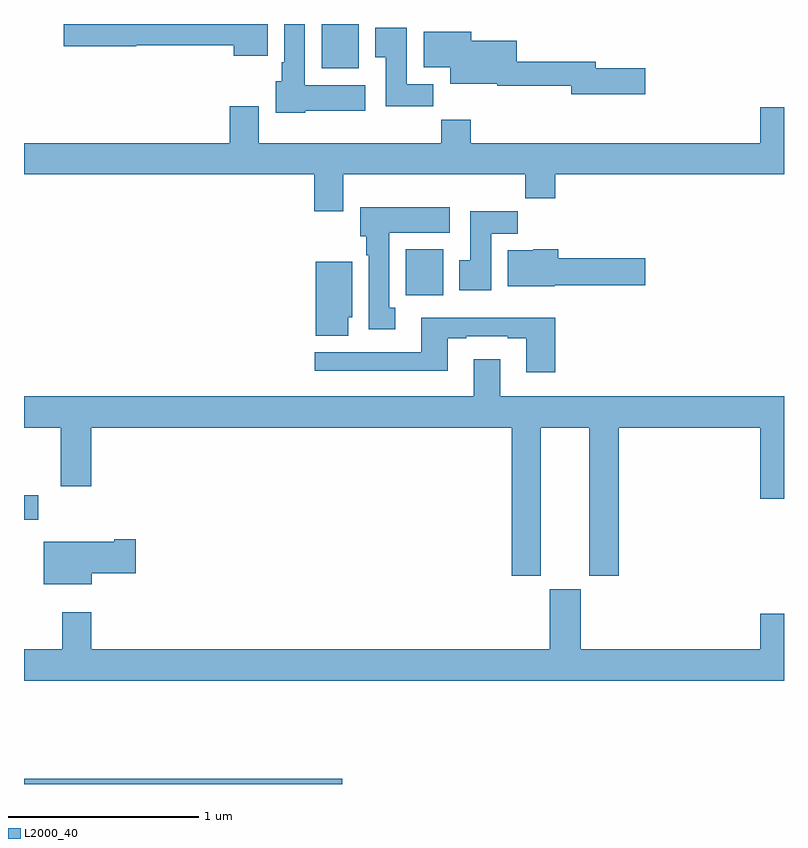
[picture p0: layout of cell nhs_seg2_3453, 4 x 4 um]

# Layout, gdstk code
import gdstk
lib = gdstk.Library(unit=1e-6, precision=1e-09)
def R(c, l, rs):  # rectangles x0, y0, x1, y1
    for r in rs: c.add(gdstk.rectangle(r[:2], r[2:], *l))
def P(c, l, *ps):  # polygons
    for p in ps: c.add(gdstk.Polygon(p, *l))
L2000_40 = (2000, 40)

nhs_seg2_3453 = lib.new_cell('nhs_seg2_3453')
R(nhs_seg2_3453, L2000_40, [(293,605.8,294.676,605.828), (293,607.191,293.074,607.32), (295.01,608.372,295.207,608.614), (294.566,609.566,294.763,609.8)])
P(nhs_seg2_3453, L2000_40, [(294.283,609.8),(293.208,609.8),(293.208,609.683),(293.592,609.683),(293.592,609.688),(294.104,609.688),(294.104,609.632),(294.283,609.632)],
  [(294.48,609.344),(294.796,609.344),(294.796,609.478),(294.478,609.478),(294.478,609.8),(294.371,609.8),(294.371,609.598),(294.356,609.598),(294.356,609.498),(294.326,609.498),(294.326,609.332),(294.48,609.332)],
  [(295.154,609.484),(295.015,609.484),(295.015,609.781),(294.848,609.781),(294.848,609.625),(294.905,609.625),(294.905,609.366),(295.154,609.366)],
  [(296.269,609.566),(296.008,609.566),(296.008,609.602),(295.594,609.602),(295.594,609.712),(295.354,609.712),(295.354,609.76),(295.103,609.76),(295.103,609.572),(295.244,609.572),(295.244,609.485),(295.49,609.485),(295.49,609.474),(295.88,609.474),(295.88,609.431),(296.269,609.431)],
  [(294.679,609.008),(295.639,609.008),(295.639,608.884),(295.796,608.884),(295.796,609.008),(297,609.008),(297,609.361),(296.876,609.361),(296.876,609.172),(295.352,609.172),(295.352,609.296),(295.195,609.296),(295.195,609.172),(294.235,609.172),(294.235,609.367),(294.083,609.367),(294.083,609.172),(293,609.172),(293,609.008),(294.527,609.008),(294.527,608.814),(294.679,608.814)],
  [(294.955,608.306),(294.922,608.306),(294.922,608.702),(295.24,608.702),(295.24,608.836),(294.77,608.836),(294.77,608.682),(294.8,608.682),(294.8,608.582),(294.815,608.582),(294.815,608.193),(294.955,608.193)],
  [(295.459,608.696),(295.598,608.696),(295.598,608.815),(295.349,608.815),(295.349,608.556),(295.292,608.556),(295.292,608.4),(295.459,608.4)],
  [(295.794,608.426),(296.269,608.426),(296.269,608.568),(295.811,608.568),(295.811,608.614),(295.68,608.614),(295.68,608.608),(295.547,608.608),(295.547,608.42),(295.794,608.42)],
  [(294.706,608.256),(294.727,608.256),(294.727,608.548),(294.536,608.548),(294.536,608.158),(294.706,608.158)],
  [(295.796,608.254),(295.091,608.254),(295.091,608.073),(294.531,608.073),(294.531,607.976),(295.231,607.976),(295.231,608.145),(295.327,608.145),(295.327,608.157),(295.547,608.157),(295.547,608.145),(295.643,608.145),(295.643,607.968),(295.796,607.968)],
  [(295.72,607.676),(295.976,607.676),(295.976,606.897),(296.129,606.897),(296.129,607.676),(296.876,607.676),(296.876,607.302),(297,607.302),(297,607.84),(295.507,607.84),(295.507,608.035),(295.367,608.035),(295.367,607.84),(293,607.84),(293,607.676),(293.194,607.676),(293.194,607.368),(293.354,607.368),(293.354,607.676),(295.568,607.676),(295.568,606.897),(295.72,606.897)],
  [(293.356,606.91),(293.587,606.91),(293.587,607.088),(293.474,607.088),(293.474,607.075),(293.105,607.075),(293.105,606.851),(293.356,606.851)],
  [(297,606.697),(296.876,606.697),(296.876,606.508),(295.93,606.508),(295.93,606.825),(295.766,606.825),(295.766,606.508),(293.354,606.508),(293.354,606.703),(293.201,606.703),(293.201,606.508),(293,606.508),(293,606.344),(297,606.344)])

lib.write_gds('nhs_seg2_3453.gds')
